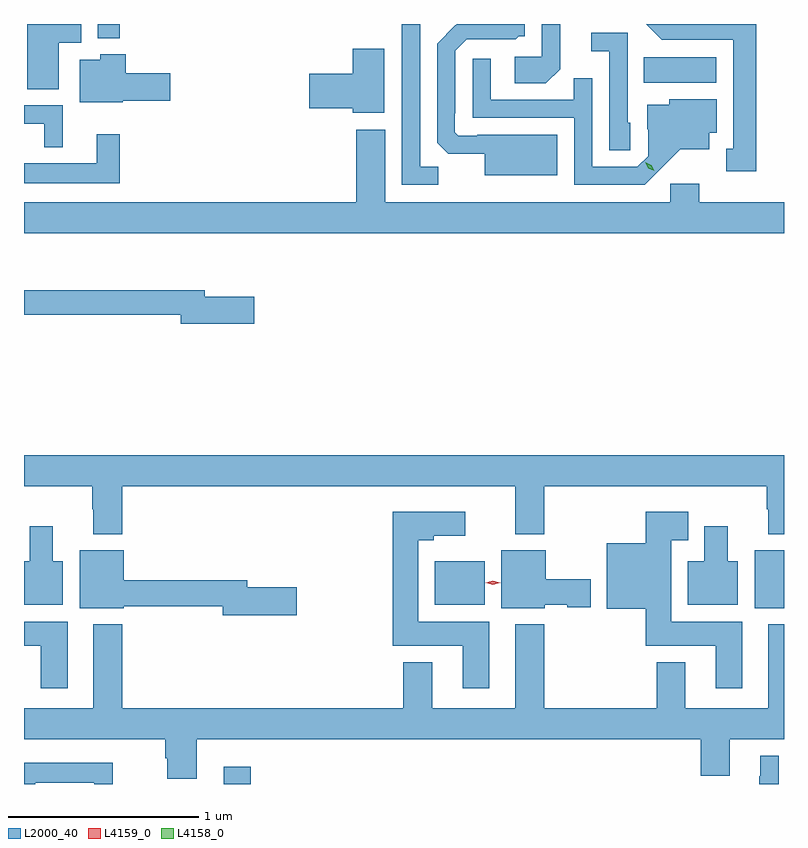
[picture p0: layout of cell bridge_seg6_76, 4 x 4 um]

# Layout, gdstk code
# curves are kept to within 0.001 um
import gdstk
lib = gdstk.Library(unit=1e-6, precision=1e-09)
def R(c, l, rs):  # rectangles x0, y0, x1, y1
    for r in rs: c.add(gdstk.rectangle(r[:2], r[2:], *l))
def P(c, l, *ps):  # polygons
    for p in ps: c.add(gdstk.Polygon(p, *l))
L2000_40 = (2000, 40)
L4158_0 = (4158, 0)
L4159_0 = (4159, 0)

bridge_seg6_76 = lib.new_cell('bridge_seg6_76')
R(bridge_seg6_76, L2000_40, [(757.646,935.113,757.788,935.203), (760.439,936.038,760.594,936.343), (758.756,936.056,759.019,936.286), (759.856,938.804,760.237,938.938), (756.981,939.038,757.097,939.113)])
P(bridge_seg6_76, L2000_40, [(758.775,938.363),(758.679,938.363),(758.679,939.113),(758.583,939.113),(758.583,938.268),(758.775,938.268)],
  [(756.778,939.014),(756.896,939.014),(756.896,939.113),(756.611,939.113),(756.611,938.77),(756.778,938.77)],
  [(759.4,938.53),(758.98,938.53),(758.98,938.526),(758.88,938.526),(758.862,938.544),(758.862,938.644),(758.865,938.644),(758.865,938.973),(758.925,939.033),(759.182,939.032),(759.198,939.048),(759.229,939.048),(759.229,939.113),(758.871,939.113),(758.769,939.01),(758.769,938.488),(758.828,938.429),(759.02,938.429),(759.02,938.318),(759.4,938.318)],
  [(760.447,939.113),(759.868,939.113),(759.951,939.03),(760.328,939.03),(760.328,938.457),(760.289,938.457),(760.289,938.337),(760.447,938.337)],
  [(759.417,938.876),(759.417,939.113),(759.318,939.113),(759.318,938.94),(759.177,938.94),(759.177,938.8),(759.341,938.8)],
  [(759.786,938.592),(759.771,938.592),(759.771,939.066),(759.579,939.066),(759.579,938.969),(759.675,938.969),(759.675,938.449),(759.786,938.449)],
  [(758.491,938.983),(758.324,938.983),(758.324,938.852),(758.094,938.852),(758.094,938.669),(758.324,938.669),(758.324,938.645),(758.491,938.645)],
  [(757.113,938.708),(757.363,938.708),(757.363,938.855),(757.13,938.855),(757.13,938.953),(756.996,938.953),(756.996,938.926),(756.887,938.926),(756.887,938.702),(757.113,938.702)],
  [(759.946,938.351),(760.049,938.453),(760.201,938.453),(760.201,938.54),(760.24,938.54),(760.24,938.716),(759.99,938.716),(759.99,938.689),(759.875,938.689),(759.875,938.56),(759.879,938.56),(759.879,938.418),(759.822,938.361),(759.585,938.361),(759.585,938.828),(759.487,938.828),(759.487,938.715),(759.051,938.715),(759.051,938.929),(758.955,938.929),(758.955,938.619),(759.489,938.619),(759.489,938.268),(759.862,938.268)],
  [(756.799,938.685),(756.594,938.685),(756.594,938.589),(756.701,938.589),(756.701,938.465),(756.799,938.465)],
  [(760.594,938.176),(760.148,938.176),(760.148,938.272),(759.996,938.272),(759.996,938.176),(758.494,938.176),(758.494,938.557),(758.342,938.557),(758.342,938.176),(756.594,938.176),(756.594,938.012),(760.594,938.012)],
  [(757.099,938.533),(756.977,938.533),(756.977,938.38),(756.594,938.38),(756.594,938.276),(757.099,938.276)],
  [(757.807,937.677),(757.546,937.677),(757.546,937.711),(756.594,937.711),(756.594,937.582),(757.418,937.582),(757.418,937.535),(757.807,937.535)],
  [(757.112,936.68),(759.179,936.68),(759.179,936.428),(759.332,936.428),(759.332,936.68),(760.504,936.68),(760.504,936.56),(760.511,936.56),(760.511,936.428),(760.594,936.428),(760.594,936.844),(756.594,936.844),(756.594,936.68),(756.952,936.68),(756.952,936.56),(756.959,936.56),(756.959,936.428),(757.112,936.428)],
  [(760.375,935.968),(760,935.968),(760,936.395),(760.09,936.395),(760.09,936.547),(759.866,936.547),(759.866,936.379),(759.662,936.379),(759.662,936.035),(759.866,936.035),(759.866,935.84),(760.235,935.84),(760.235,935.616),(760.375,935.616)],
  [(759.043,935.968),(758.668,935.968),(758.668,936.395),(758.751,936.395),(758.751,936.419),(758.917,936.419),(758.917,936.547),(758.534,936.547),(758.534,935.84),(758.903,935.84),(758.903,935.616),(759.043,935.616)],
  [(756.799,936.286),(756.745,936.286),(756.745,936.469),(756.623,936.469),(756.623,936.286),(756.594,936.286),(756.594,936.056),(756.799,936.056)],
  [(760.351,936.286),(760.297,936.286),(760.297,936.469),(760.175,936.469),(760.175,936.286),(760.088,936.286),(760.088,936.056),(760.351,936.056)],
  [(759.336,936.056),(759.453,936.056),(759.453,936.044),(759.577,936.044),(759.577,936.191),(759.34,936.191),(759.34,936.343),(759.107,936.343),(759.107,936.038),(759.336,936.038)],
  [(758.029,936.149),(757.768,936.149),(757.768,936.185),(757.12,936.185),(757.12,936.343),(756.887,936.343),(756.887,936.038),(757.12,936.038),(757.12,936.049),(757.64,936.049),(757.64,936.002),(758.029,936.002)],
  [(756.823,935.968),(756.594,935.968),(756.594,935.84),(756.683,935.84),(756.683,935.616),(756.823,935.616)],
  [(760.157,935.156),(760.309,935.156),(760.309,935.348),(760.594,935.348),(760.594,935.953),(760.511,935.953),(760.511,935.512),(760.075,935.512),(760.075,935.755),(759.923,935.755),(759.923,935.512),(759.332,935.512),(759.332,935.953),(759.179,935.953),(759.179,935.512),(758.743,935.512),(758.743,935.755),(758.591,935.755),(758.591,935.512),(757.112,935.512),(757.112,935.953),(756.959,935.953),(756.959,935.512),(756.594,935.512),(756.594,935.348),(757.337,935.348),(757.337,935.249),(757.349,935.249),(757.349,935.14),(757.502,935.14),(757.502,935.348),(760.157,935.348)],
  [(760.567,935.263),(760.469,935.263),(760.469,935.153),(760.465,935.153),(760.465,935.113),(760.567,935.113)],
  [(756.654,935.12),(756.963,935.12),(756.963,935.113),(757.06,935.113),(757.06,935.224),(756.594,935.224),(756.594,935.113),(756.654,935.113)])
P(bridge_seg6_76, L4158_0, [(759.91,938.34),(759.88,938.355),(759.863,938.385),(759.863,938.385),(759.863,938.385),(759.894,938.37),(759.911,938.34),(759.911,938.34)])
P(bridge_seg6_76, L4159_0, [(759.062,936.162),(759.024,936.172),(759.024,936.172),(759.024,936.172),(759.062,936.182),(759.101,936.172),(759.101,936.172),(759.101,936.172)])

lib.write_gds('bridge_seg6_76.gds')
